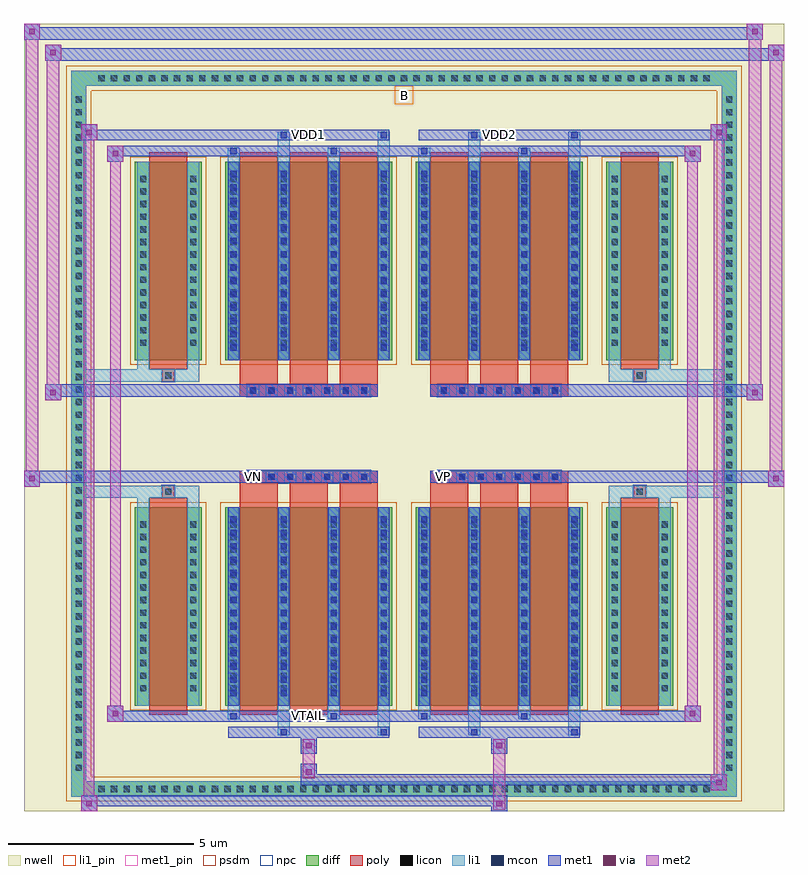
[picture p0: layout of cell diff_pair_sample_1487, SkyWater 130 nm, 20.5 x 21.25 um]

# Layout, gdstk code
import gdstk
lib = gdstk.Library(unit=1e-6, precision=5e-09)
def R(c, l, rs):  # rectangles x0, y0, x1, y1
    for r in rs: c.add(gdstk.rectangle(r[:2], r[2:], *l))
def A(c, l, x, y, w, h, nx, ny, dx, dy):  # array of equal rectangles
    R(c, l, [(x+i*dx, y+j*dy, x+i*dx+w, y+j*dy+h) for i in range(nx) for j in range(ny)])
def P(c, l, *ps):  # polygons
    for p in ps: c.add(gdstk.Polygon(p, *l))
nwell = (64, 20)
diff = (65, 20)
poly = (66, 20)
licon = (66, 44)
li1_pin = (67, 16)
li1 = (67, 20)
mcon = (67, 44)
met1_pin = (68, 16)
met1 = (68, 20)
via = (68, 44)
met2 = (69, 20)
psdm = (94, 20)
npc = (95, 20)

diff_pair_sample_1487 = lib.new_cell('diff_pair_sample_1487')
R(diff_pair_sample_1487, nwell, [(-10.25,-10.19,10.25,11.06), (-7.57,-8.38,-0.01,-0.8), (0.01,-8.38,7.57,-0.8), (-7.57,0.8,-0.01,8.38), (0.01,0.8,7.57,8.38)])
A(diff_pair_sample_1487, diff, -8.365, -9.79, 0.41, 0.41, 49, 2, 0.34, 19.17)
A(diff_pair_sample_1487, diff, -8.98, -9.215, 0.41, 0.41, 1, 54, 0, 0.34)
A(diff_pair_sample_1487, diff, 8.57, -9.215, 0.41, 0.41, 1, 54, 0, 0.34)
R(diff_pair_sample_1487, diff, [(-8.365,-9.79,8.365,-9.38), (-8.98,-9.215,-8.57,9.215), (8.57,-9.215,8.98,9.215), (-7.26,-7.335,-5.46,-1.985), (-4.82,-7.335,-0.32,-1.985), (0.32,-7.335,4.82,-1.985), (5.46,-7.335,7.26,-1.985), (-7.26,1.985,-5.46,7.335), (-4.82,1.985,-0.32,7.335), (0.32,1.985,4.82,7.335), (5.46,1.985,7.26,7.335), (-8.365,9.38,8.365,9.79)])
P(diff_pair_sample_1487, diff, [(8.98,9.79),(-8.98,9.79),(-8.98,-9.38),(-8.57,-9.38),(-8.57,9.38),(8.57,9.38),(8.57,-9.38),(-8.57,-9.38),(-8.98,-9.38),(-8.98,-9.79),(8.98,-9.79)])
A(diff_pair_sample_1487, poly, -4.43, -7.585, 1.02, 5.85, 3, 2, 1.35, 9.32)
A(diff_pair_sample_1487, poly, 0.71, -7.585, 1.02, 5.85, 3, 2, 1.35, 9.32)
A(diff_pair_sample_1487, poly, -4.43, -1.735, 1.02, 0.405, 3, 2, 1.35, 3.065)
A(diff_pair_sample_1487, poly, 0.71, -1.735, 1.02, 0.405, 3, 2, 1.35, 3.065)
A(diff_pair_sample_1487, poly, -4.235, -1.33, 0.33, 0.33, 7, 2, 0.5, 2.33)
A(diff_pair_sample_1487, poly, 0.905, -1.33, 0.33, 0.33, 7, 2, 0.5, 2.33)
R(diff_pair_sample_1487, poly, [(-6.87,-7.585,-5.85,-1.735), (5.85,-7.585,6.87,-1.735), (-6.525,-1.735,-6.195,-1.405), (-6.525,-1.735,-6.195,-1.405), (6.195,-1.735,6.525,-1.405), (6.195,-1.735,6.525,-1.405), (-4.43,-1.33,-0.71,-1), (0.71,-1.33,4.43,-1), (-4.43,1,-0.71,1.33), (0.71,1,4.43,1.33), (-6.525,1.405,-6.195,1.735), (-6.525,1.405,-6.195,1.735), (6.195,1.405,6.525,1.735), (6.195,1.405,6.525,1.735), (-6.87,1.735,-5.85,7.585), (5.85,1.735,6.87,7.585)])
A(diff_pair_sample_1487, licon, -8.245, -9.67, 0.17, 0.17, 49, 2, 0.34, 19.17)
A(diff_pair_sample_1487, licon, -8.86, -9.095, 0.17, 0.17, 1, 54, 0, 0.34)
A(diff_pair_sample_1487, licon, 8.69, -9.095, 0.17, 0.17, 1, 54, 0, 0.34)
A(diff_pair_sample_1487, licon, -7.12, -6.955, 0.17, 0.17, 1, 14, 0, 0.34)
A(diff_pair_sample_1487, licon, -5.77, -6.955, 0.17, 0.17, 1, 14, 0, 0.34)
A(diff_pair_sample_1487, licon, -4.68, -6.955, 0.17, 0.17, 4, 14, 1.35, 0.34)
A(diff_pair_sample_1487, licon, 0.46, -6.955, 0.17, 0.17, 4, 14, 1.35, 0.34)
A(diff_pair_sample_1487, licon, 5.6, -6.955, 0.17, 0.17, 1, 14, 0, 0.34)
A(diff_pair_sample_1487, licon, 6.95, -6.955, 0.17, 0.17, 1, 14, 0, 0.34)
A(diff_pair_sample_1487, licon, -4.155, -1.25, 0.17, 0.17, 7, 2, 0.5, 2.33)
A(diff_pair_sample_1487, licon, 0.985, -1.25, 0.17, 0.17, 7, 2, 0.5, 2.33)
A(diff_pair_sample_1487, licon, -7.12, 2.365, 0.17, 0.17, 1, 14, 0, 0.34)
A(diff_pair_sample_1487, licon, -5.77, 2.365, 0.17, 0.17, 1, 14, 0, 0.34)
A(diff_pair_sample_1487, licon, -4.68, 2.365, 0.17, 0.17, 4, 14, 1.35, 0.34)
A(diff_pair_sample_1487, licon, 0.46, 2.365, 0.17, 0.17, 4, 14, 1.35, 0.34)
A(diff_pair_sample_1487, licon, 5.6, 2.365, 0.17, 0.17, 1, 14, 0, 0.34)
A(diff_pair_sample_1487, licon, 6.95, 2.365, 0.17, 0.17, 1, 14, 0, 0.34)
R(diff_pair_sample_1487, licon, [(-6.445,-1.655,-6.275,-1.485), (6.275,-1.655,6.445,-1.485), (-6.445,1.485,-6.275,1.655), (6.275,1.485,6.445,1.655)])
R(diff_pair_sample_1487, li1_pin, [(-0.25,8.88,0.25,9.38)])
A(diff_pair_sample_1487, li1, -8.325, -9.75, 0.33, 0.33, 49, 2, 0.34, 19.17)
A(diff_pair_sample_1487, li1, -8.94, -9.175, 0.33, 0.33, 1, 54, 0, 0.34)
A(diff_pair_sample_1487, li1, 8.61, -9.175, 0.33, 0.33, 1, 54, 0, 0.34)
A(diff_pair_sample_1487, li1, -4.76, -7.335, 0.33, 5.35, 4, 2, 1.35, 9.32)
A(diff_pair_sample_1487, li1, 0.38, -7.335, 0.33, 5.35, 4, 2, 1.35, 9.32)
A(diff_pair_sample_1487, li1, -4.68, -7.085, 0.17, 0.17, 4, 14, 1.35, 0.36)
A(diff_pair_sample_1487, li1, -4.68, -7.085, 0.17, 4.85, 4, 2, 1.35, 9.32)
A(diff_pair_sample_1487, li1, 0.46, -7.085, 0.17, 0.17, 4, 14, 1.35, 0.36)
A(diff_pair_sample_1487, li1, 0.46, -7.085, 0.17, 4.85, 4, 2, 1.35, 9.32)
A(diff_pair_sample_1487, li1, -7.2, -7.035, 0.33, 0.33, 1, 14, 0, 0.34)
A(diff_pair_sample_1487, li1, -5.85, -7.035, 0.33, 0.33, 1, 14, 0, 0.34)
A(diff_pair_sample_1487, li1, -4.76, -7.035, 0.33, 0.33, 4, 14, 1.35, 0.34)
A(diff_pair_sample_1487, li1, 0.38, -7.035, 0.33, 0.33, 4, 14, 1.35, 0.34)
A(diff_pair_sample_1487, li1, 5.52, -7.035, 0.33, 0.33, 1, 14, 0, 0.34)
A(diff_pair_sample_1487, li1, 6.87, -7.035, 0.33, 0.33, 1, 14, 0, 0.34)
A(diff_pair_sample_1487, li1, -4.235, -1.33, 0.33, 0.33, 7, 2, 0.5, 2.33)
A(diff_pair_sample_1487, li1, 0.905, -1.33, 0.33, 0.33, 7, 2, 0.5, 2.33)
A(diff_pair_sample_1487, li1, -4.68, 2.235, 0.17, 0.17, 4, 14, 1.35, 0.36)
A(diff_pair_sample_1487, li1, 0.46, 2.235, 0.17, 0.17, 4, 14, 1.35, 0.36)
A(diff_pair_sample_1487, li1, -7.2, 2.285, 0.33, 0.33, 1, 14, 0, 0.34)
A(diff_pair_sample_1487, li1, -5.85, 2.285, 0.33, 0.33, 1, 14, 0, 0.34)
A(diff_pair_sample_1487, li1, -4.76, 2.285, 0.33, 0.33, 4, 14, 1.35, 0.34)
A(diff_pair_sample_1487, li1, 0.38, 2.285, 0.33, 0.33, 4, 14, 1.35, 0.34)
A(diff_pair_sample_1487, li1, 5.52, 2.285, 0.33, 0.33, 1, 14, 0, 0.34)
A(diff_pair_sample_1487, li1, 6.87, 2.285, 0.33, 0.33, 1, 14, 0, 0.34)
R(diff_pair_sample_1487, li1, [(-8.98,-9.79,-8.57,-9.38), (-8.98,-9.79,-8.57,-9.38), (-8.57,-9.79,8.57,-9.38), (8.57,-9.79,8.98,-9.38), (8.57,-9.79,8.98,-9.38), (-8.98,-9.38,-8.57,9.38), (8.57,-9.38,8.98,9.38), (-3.41,-8.14,-3.08,-7.335), (-3.33,-8.14,-3.16,-7.97), (-0.71,-8.14,-0.38,-7.335), (-0.63,-8.14,-0.46,-7.97), (1.73,-8.14,2.06,-7.335), (1.81,-8.14,1.98,-7.97), (4.43,-8.14,4.76,-7.335), (4.51,-8.14,4.68,-7.97), (-4.76,-7.71,-4.43,-7.335), (-4.68,-7.71,-4.51,-7.54), (-2.06,-7.71,-1.73,-7.335), (-1.98,-7.71,-1.81,-7.54), (0.38,-7.71,0.71,-7.335), (0.46,-7.71,0.63,-7.54), (3.08,-7.71,3.41,-7.335), (3.16,-7.71,3.33,-7.54), (-7.2,-7.335,-6.87,-1.985), (-5.85,-7.335,-5.52,-1.985), (5.52,-7.335,5.85,-1.985), (6.87,-7.335,7.2,-1.985), (-7.2,-1.985,-6.87,-1.405), (-5.85,-1.985,-5.52,-1.405), (5.52,-1.985,5.85,-1.405), (6.87,-1.985,7.2,-1.405), (-8.98,-1.735,-6.525,-1.405), (-7.2,-1.735,-6.525,-1.405), (-6.525,-1.735,-6.195,-1.405), (-6.195,-1.735,-5.52,-1.405), (5.52,-1.735,6.195,-1.405), (6.195,-1.735,6.525,-1.405), (6.195,-1.735,8.98,-1.405), (6.525,-1.735,7.2,-1.405), (-8.98,1.405,-6.525,1.735), (-7.2,1.405,-6.525,1.735), (-7.2,1.405,-6.87,1.985), (-6.525,1.405,-6.195,1.735), (-6.195,1.405,-5.52,1.735), (-5.85,1.405,-5.52,1.985), (5.52,1.405,6.195,1.735), (5.52,1.405,5.85,1.985), (6.195,1.405,6.525,1.735), (6.195,1.405,8.98,1.735), (6.525,1.405,7.2,1.735), (6.87,1.405,7.2,1.985), (-7.2,1.985,-6.87,7.335), (-5.85,1.985,-5.52,7.335), (5.52,1.985,5.85,7.335), (6.87,1.985,7.2,7.335), (-4.76,7.335,-4.43,7.71), (-3.41,7.335,-3.08,8.14), (-2.06,7.335,-1.73,7.71), (-0.71,7.335,-0.38,8.14), (0.38,7.335,0.71,7.71), (1.73,7.335,2.06,8.14), (3.08,7.335,3.41,7.71), (4.43,7.335,4.76,8.14), (-4.68,7.54,-4.51,7.71), (-1.98,7.54,-1.81,7.71), (0.46,7.54,0.63,7.71), (3.16,7.54,3.33,7.71), (-3.33,7.97,-3.16,8.14), (-0.63,7.97,-0.46,8.14), (1.81,7.97,1.98,8.14), (4.51,7.97,4.68,8.14), (-8.98,9.38,-8.57,9.79), (-8.98,9.38,-8.57,9.79), (-8.57,9.38,8.57,9.79), (8.57,9.38,8.98,9.79), (8.57,9.38,8.98,9.79)])
A(diff_pair_sample_1487, mcon, -4.68, -7.085, 0.17, 0.17, 4, 14, 1.35, 0.36)
A(diff_pair_sample_1487, mcon, 0.46, -7.085, 0.17, 0.17, 4, 14, 1.35, 0.36)
A(diff_pair_sample_1487, mcon, -4.155, -1.25, 0.17, 0.17, 7, 2, 0.5, 2.33)
A(diff_pair_sample_1487, mcon, 0.985, -1.25, 0.17, 0.17, 7, 2, 0.5, 2.33)
A(diff_pair_sample_1487, mcon, -4.68, 2.235, 0.17, 0.17, 4, 14, 1.35, 0.36)
A(diff_pair_sample_1487, mcon, 0.46, 2.235, 0.17, 0.17, 4, 14, 1.35, 0.36)
R(diff_pair_sample_1487, mcon, [(-3.33,-8.14,-3.16,-7.97), (-0.63,-8.14,-0.46,-7.97), (1.81,-8.14,1.98,-7.97), (4.51,-8.14,4.68,-7.97), (-4.68,-7.71,-4.51,-7.54), (-1.98,-7.71,-1.81,-7.54), (0.46,-7.71,0.63,-7.54), (3.16,-7.71,3.33,-7.54), (-4.68,7.54,-4.51,7.71), (-1.98,7.54,-1.81,7.71), (0.46,7.54,0.63,7.71), (3.16,7.54,3.33,7.71), (-3.33,7.97,-3.16,8.14), (-0.63,7.97,-0.46,8.14), (1.81,7.97,1.98,8.14), (4.51,7.97,4.68,8.14)])
R(diff_pair_sample_1487, met1_pin, [(-2.705,-7.75,-2.435,-7.48), (-4.205,-1.29,-3.935,-1.02), (0.935,-1.29,1.205,-1.02), (-2.705,7.93,-2.435,8.2), (2.435,7.93,2.705,8.2)])
A(diff_pair_sample_1487, met1, -4.74, -7.335, 0.29, 5.35, 4, 2, 1.35, 9.32)
A(diff_pair_sample_1487, met1, 0.4, -7.335, 0.29, 5.35, 4, 2, 1.35, 9.32)
A(diff_pair_sample_1487, met1, -4.74, -7.145, 0.29, 0.29, 4, 14, 1.35, 0.36)
A(diff_pair_sample_1487, met1, 0.4, -7.145, 0.29, 0.29, 4, 14, 1.35, 0.36)
A(diff_pair_sample_1487, met1, -4.215, -1.31, 0.29, 0.29, 7, 2, 0.5, 2.33)
A(diff_pair_sample_1487, met1, 0.925, -1.31, 0.29, 0.29, 7, 2, 0.5, 2.33)
A(diff_pair_sample_1487, met1, -4.74, 2.175, 0.29, 0.29, 4, 14, 1.35, 0.36)
A(diff_pair_sample_1487, met1, 0.4, 2.175, 0.29, 0.29, 4, 14, 1.35, 0.36)
R(diff_pair_sample_1487, met1, [(-8.71,-10.19,-8.28,-9.76), (2.355,-10.19,2.785,-9.76), (-8.71,-10.05,2.785,-9.76), (8.28,-9.62,8.71,-9.19), (-2.785,-9.48,8.71,-9.19), (-2.785,-9.34,-2.355,-8.91), (-2.785,-8.63,-2.355,-8.2), (2.355,-8.63,2.785,-8.2), (-4.74,-8.2,-0.4,-7.91), (-3.39,-8.2,-3.1,-7.91), (-0.69,-8.2,-0.4,-7.91), (0.4,-8.2,4.74,-7.91), (1.75,-8.2,2.04,-7.91), (4.45,-8.2,4.74,-7.91), (-8,-7.77,-7.57,-7.34), (-8,-7.77,-4.74,-7.48), (-4.74,-7.77,-4.45,-7.48), (-4.74,-7.77,-0.4,-7.48), (-2.04,-7.77,-1.75,-7.48), (-0.4,-7.77,0.4,-7.48), (0.4,-7.77,0.69,-7.48), (0.4,-7.77,4.74,-7.48), (3.1,-7.77,3.39,-7.48), (4.74,-7.77,8,-7.48), (7.57,-7.77,8,-7.34), (-10.25,-1.43,-9.82,-1), (9.82,-1.43,10.25,-1), (-10.25,-1.33,-0.71,-1), (-4.43,-1.33,-0.71,-1), (0.71,-1.33,4.43,-1), (0.71,-1.33,10.25,-1), (-9.68,0.9,-9.25,1.33), (9.25,0.9,9.68,1.33), (-9.68,1,-4.43,1.33), (-4.43,1,-0.71,1.33), (0.71,1,4.43,1.33), (4.43,1,9.68,1.33), (-8,7.34,-7.57,7.77), (7.57,7.34,8,7.77), (-8,7.48,-4.74,7.77), (-4.74,7.48,-4.45,7.77), (-4.74,7.48,-0.4,7.77), (-2.04,7.48,-1.75,7.77), (-0.4,7.48,0.4,7.77), (0.4,7.48,0.69,7.77), (0.4,7.48,4.74,7.77), (3.1,7.48,3.39,7.77), (4.74,7.48,8,7.77), (-8.71,7.91,-8.28,8.34), (-8.71,7.91,-4.74,8.2), (-4.74,7.91,-0.4,8.2), (-3.39,7.91,-3.1,8.2), (-0.69,7.91,-0.4,8.2), (0.4,7.91,4.74,8.2), (1.75,7.91,2.04,8.2), (4.45,7.91,4.74,8.2), (4.74,7.91,8.71,8.2), (8.28,7.91,8.71,8.34), (-9.68,10.06,-9.25,10.49), (-9.68,10.06,-7.57,10.39), (-7.57,10.06,7.57,10.39), (7.57,10.06,10.25,10.39), (9.82,10.06,10.25,10.49), (-10.25,10.63,-9.82,11.06), (-10.25,10.63,-7.57,10.96), (-7.57,10.63,7.57,10.96), (7.57,10.63,9.68,10.96), (9.25,10.63,9.68,11.06)])
R(diff_pair_sample_1487, via, [(-8.57,-10.05,-8.42,-9.9), (2.495,-10.05,2.645,-9.9), (8.42,-9.48,8.57,-9.33), (-2.645,-9.2,-2.495,-9.05), (-2.645,-8.49,-2.495,-8.34), (2.495,-8.49,2.645,-8.34), (-7.86,-7.63,-7.71,-7.48), (7.71,-7.63,7.86,-7.48), (-10.11,-1.29,-9.96,-1.14), (9.96,-1.29,10.11,-1.14), (-9.54,1.04,-9.39,1.19), (9.39,1.04,9.54,1.19), (-7.86,7.48,-7.71,7.63), (7.71,7.48,7.86,7.63), (-8.57,8.05,-8.42,8.2), (8.42,8.05,8.57,8.2), (-9.54,10.2,-9.39,10.35), (9.96,10.2,10.11,10.35), (-10.11,10.77,-9.96,10.92), (9.39,10.77,9.54,10.92)])
R(diff_pair_sample_1487, met2, [(-8.71,-10.19,-8.28,-9.76), (-8.64,-10.19,-8.35,8.34), (-8.35,-10.19,-8.28,-9.76), (-8.66,-10.14,-8.33,-9.81), (2.405,-10.14,2.735,-9.81), (2.405,-9.81,2.735,-8.58), (8.28,-9.62,8.71,-9.19), (8.35,-9.62,8.64,8.34), (8.64,-9.62,8.71,-9.19), (8.33,-9.57,8.66,-9.24), (-2.735,-9.29,-2.405,-8.96), (-2.735,-8.96,-2.405,-8.58), (-2.735,-8.58,-2.405,-8.25), (2.405,-8.58,2.735,-8.25), (-8,-7.77,-7.57,-7.34), (-7.93,-7.77,-7.64,7.77), (-7.64,-7.77,-7.57,-7.34), (7.57,-7.77,8,-7.34), (7.64,-7.77,7.93,7.77), (7.93,-7.77,8,-7.34), (-7.95,-7.72,-7.62,-7.39), (7.62,-7.72,7.95,-7.39), (-10.25,-1.43,-9.82,-1), (-10.2,-1.43,-9.87,11.06), (-9.87,-1.43,-9.82,-1), (9.82,-1.43,10.25,-1), (9.87,-1.43,10.2,10.49), (10.2,-1.43,10.25,-1), (-10.2,-1.38,-9.87,-1.05), (9.87,-1.38,10.2,-1.05), (-9.68,0.9,-9.25,1.33), (-9.63,0.9,-9.3,10.49), (-9.3,0.9,-9.25,1.33), (9.25,0.9,9.68,1.33), (9.3,0.9,9.63,11.06), (9.63,0.9,9.68,1.33), (-9.63,0.95,-9.3,1.28), (9.3,0.95,9.63,1.28), (-8,7.34,-7.57,7.77), (-7.64,7.34,-7.57,7.77), (7.57,7.34,8,7.77), (7.93,7.34,8,7.77), (-7.95,7.39,-7.62,7.72), (7.62,7.39,7.95,7.72), (-8.71,7.91,-8.28,8.34), (-8.35,7.91,-8.28,8.34), (8.28,7.91,8.71,8.34), (8.64,7.91,8.71,8.34), (-8.66,7.96,-8.33,8.29), (8.33,7.96,8.66,8.29), (-9.68,10.06,-9.25,10.49), (-9.3,10.06,-9.25,10.49), (9.82,10.06,10.25,10.49), (10.2,10.06,10.25,10.49), (-9.63,10.11,-9.3,10.44), (9.87,10.11,10.2,10.44), (-10.25,10.63,-9.82,11.06), (-9.87,10.63,-9.82,11.06), (9.25,10.63,9.68,11.06), (9.63,10.63,9.68,11.06), (-10.2,10.68,-9.87,11.01), (9.3,10.68,9.63,11.01)])
R(diff_pair_sample_1487, psdm, [(-7.39,-7.465,-5.33,-1.855), (-4.95,-7.465,-0.19,-1.855), (0.19,-7.465,4.95,-1.855), (5.33,-7.465,7.39,-1.855), (-7.39,1.855,-5.33,7.465), (-4.95,1.855,-0.19,7.465), (0.19,1.855,4.95,7.465), (5.33,1.855,7.39,7.465)])
P(diff_pair_sample_1487, psdm, [(9.11,9.92),(-9.11,9.92),(-9.11,-9.25),(-8.44,-9.25),(-8.44,9.25),(8.44,9.25),(8.44,-9.25),(-8.44,-9.25),(-9.11,-9.25),(-9.11,-9.92),(9.11,-9.92)])
A(diff_pair_sample_1487, npc, -4.255, -1.35, 0.37, 0.37, 7, 2, 0.5, 2.33)
A(diff_pair_sample_1487, npc, 0.885, -1.35, 0.37, 0.37, 7, 2, 0.5, 2.33)
R(diff_pair_sample_1487, npc, [(-6.545,-1.755,-6.175,-1.385), (6.175,-1.755,6.545,-1.385), (-4.255,-1.35,-3.385,-0.98), (-4.255,-1.35,-3.385,-0.98), (-3.755,-1.35,-2.885,-0.98), (-3.755,-1.35,-2.885,-0.98), (-3.255,-1.35,-2.385,-0.98), (-3.255,-1.35,-2.385,-0.98), (-2.755,-1.35,-1.885,-0.98), (-2.755,-1.35,-1.885,-0.98), (-2.255,-1.35,-1.385,-0.98), (-2.255,-1.35,-1.385,-0.98), (-1.755,-1.35,-0.885,-0.98), (-1.755,-1.35,-0.885,-0.98), (0.885,-1.35,1.755,-0.98), (0.885,-1.35,1.755,-0.98), (1.385,-1.35,2.255,-0.98), (1.385,-1.35,2.255,-0.98), (1.885,-1.35,2.755,-0.98), (1.885,-1.35,2.755,-0.98), (2.385,-1.35,3.255,-0.98), (2.385,-1.35,3.255,-0.98), (2.885,-1.35,3.755,-0.98), (2.885,-1.35,3.755,-0.98), (3.385,-1.35,4.255,-0.98), (3.385,-1.35,4.255,-0.98), (-4.255,0.98,-3.385,1.35), (-4.255,0.98,-3.385,1.35), (-3.755,0.98,-2.885,1.35), (-3.755,0.98,-2.885,1.35), (-3.255,0.98,-2.385,1.35), (-3.255,0.98,-2.385,1.35), (-2.755,0.98,-1.885,1.35), (-2.755,0.98,-1.885,1.35), (-2.255,0.98,-1.385,1.35), (-2.255,0.98,-1.385,1.35), (-1.755,0.98,-0.885,1.35), (-1.755,0.98,-0.885,1.35), (0.885,0.98,1.755,1.35), (0.885,0.98,1.755,1.35), (1.385,0.98,2.255,1.35), (1.385,0.98,2.255,1.35), (1.885,0.98,2.755,1.35), (1.885,0.98,2.755,1.35), (2.385,0.98,3.255,1.35), (2.385,0.98,3.255,1.35), (2.885,0.98,3.755,1.35), (2.885,0.98,3.755,1.35), (3.385,0.98,4.255,1.35), (3.385,0.98,4.255,1.35), (-6.545,1.385,-6.175,1.755), (6.175,1.385,6.545,1.755)])
diff_pair_sample_1487.add(gdstk.Label('VTAIL', (-2.57,-7.615), layer=68, texttype=5))
diff_pair_sample_1487.add(gdstk.Label('VN', (-4.07,-1.155), layer=68, texttype=5))
diff_pair_sample_1487.add(gdstk.Label('VP', (1.07,-1.155), layer=68, texttype=5))
diff_pair_sample_1487.add(gdstk.Label('B', (0,9.13), layer=67, texttype=5))
diff_pair_sample_1487.add(gdstk.Label('VDD2', (2.57,8.065), layer=68, texttype=5))
diff_pair_sample_1487.add(gdstk.Label('VDD1', (-2.57,8.065), layer=68, texttype=5))

lib.write_gds('diff_pair_sample_1487.gds')
